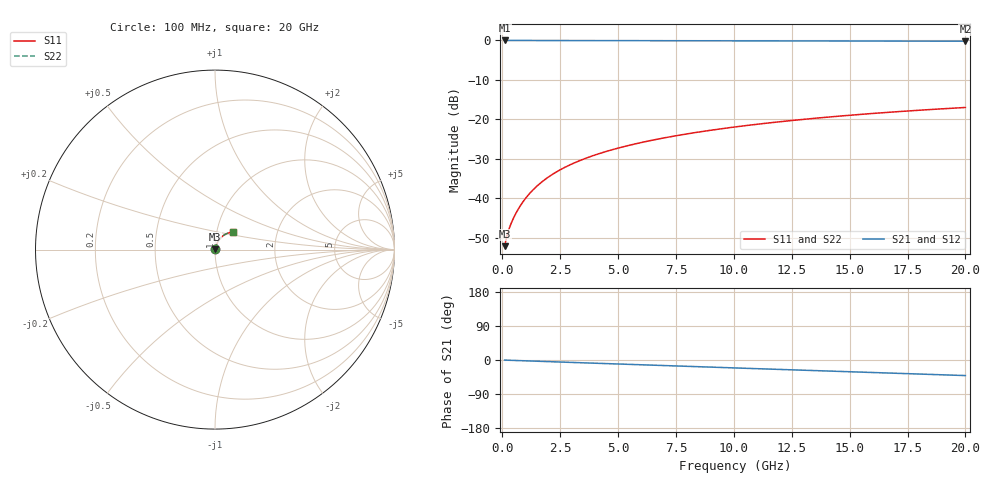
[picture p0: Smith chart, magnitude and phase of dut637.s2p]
! Touchstone file exported from HFSS 2026.1.0
!  File:  C:/ffzhzh/LocalFiles/Ansys_Project_Files/temp_train_TMRDL_637_1783009295_46388.aedt
!  Generated:  12:22:59 AM Jul  3, 2026
!  Design:  TMRDL
!  Project:  temp_train_TMRDL_637_1783009295_46388
! Variables:
!  h_bsmrdl = 2um
!  h_ox = 20um
!  h_rdl = 5um
!  h_sub = 80um
!  h_tmrdl = 4.85um
!  h_tsv = 80um
!  h_via = 3um
!  l_bsmrdl = 300um
!  l_sub = 1107.57um
!  l_tmrdl = 707.57um
!  m_sub = 200um
!  pitch = 39.54um
!  r_tsv = 6um
!  s_tmrdl = 10um
!  w_bsmrdl = 18um
!  w_sub = 500um
!  w_tmrdl = 29.27um
!  x_tsv_center1 = 722.205um
!  x_tsv_center2 = 1040.205um
!  x_tsv_center3 = 1777.045um
!  x_tsv_center4 = 2095.045um
!  x_tsv_center5 = 2831.885um
!  x_tsv_center6 = 3149.885um
# GHz S MA R 50.000000
! Terminal data exported
! Port[1] = TM_RDL1_1_T1
! Port[2] = TM_RDL1_1_T2
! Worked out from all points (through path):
!   200 points, 100 MHz to 20 GHz, reference 50 ohm
!   highest |S21| = -0.02 dB at 100 MHz (marker M1); lowest = -0.2 dB at 20 GHz (marker M2)
!   group delay of S21, straight-line fit = 5.69 ps
!   lowest |S11| = -52.2 dB at 100 MHz (marker M3), VSWR 1.00, Z = 50.2 + j0.132 ohm
!   |S11| at or under -10 dB: start of sweep to end of sweep
!   |S22| runs from -52.2 to -17.0 dB; largest |S21 - S12| = 2.7e-15
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0.1  0.002465 32.2  0.9979 -0.2  0.9979 -0.2  0.002465 32.2
! Gamma 0 0 0 0
! Port Impedance 50 0 50 0
0.2  0.003354 44.2  0.9976 -0.5  0.9976 -0.5  0.003354 44.2
0.3  0.004161 50.7  0.9974 -0.7  0.9974 -0.7  0.004161 50.7
0.4  0.004937 55.6  0.9973 -0.9  0.9973 -0.9  0.004937 55.6
0.5  0.005724 59.4  0.9972 -1.1  0.9972 -1.1  0.005724 59.4
0.6  0.006529 62.4  0.9971 -1.3  0.9971 -1.3  0.00653 62.4
0.8  0.008194 66.7  0.997 -1.7  0.997 -1.7  0.008194 66.7
1  0.009906 69.5  0.9968 -2.2  0.9968 -2.2  0.009906 69.4
1.2  0.01164 71.2  0.9967 -2.6  0.9967 -2.6  0.01164 71.2
1.4  0.01339 72.4  0.9965 -3.0  0.9965 -3.0  0.01339 72.3
1.7  0.01601 73.3  0.9963 -3.7  0.9963 -3.7  0.01601 73.3
2.2  0.02034 73.9  0.9958 -4.7  0.9958 -4.7  0.02034 73.9
2.8  0.02543 73.7  0.9951 -6.0  0.9951 -6.0  0.02543 73.7
3.5  0.03121 72.9  0.9943 -7.5  0.9943 -7.5  0.03121 72.9
4.2  0.03684 72.0  0.9935 -8.9  0.9935 -8.9  0.03684 71.9
5  0.04311 70.7  0.9925 -10.6  0.9925 -10.6  0.04311 70.7
6.8  0.05671 67.8  0.9905 -14.3  0.9905 -14.3  0.0567 67.7
8.3  0.06762 65.2  0.9889 -17.4  0.9889 -17.4  0.06762 65.2
10.1  0.08029 62.0  0.987 -21.1  0.987 -21.1  0.08029 62.0
13.4  0.1023 56.1  0.9835 -27.8  0.9835 -27.8  0.1023 56.0
16.7  0.1227 50.0  0.98 -34.5  0.98 -34.5  0.1227 49.9
20  0.1412 43.8  0.9766 -41.1  0.9766 -41.1  0.1411 43.7
